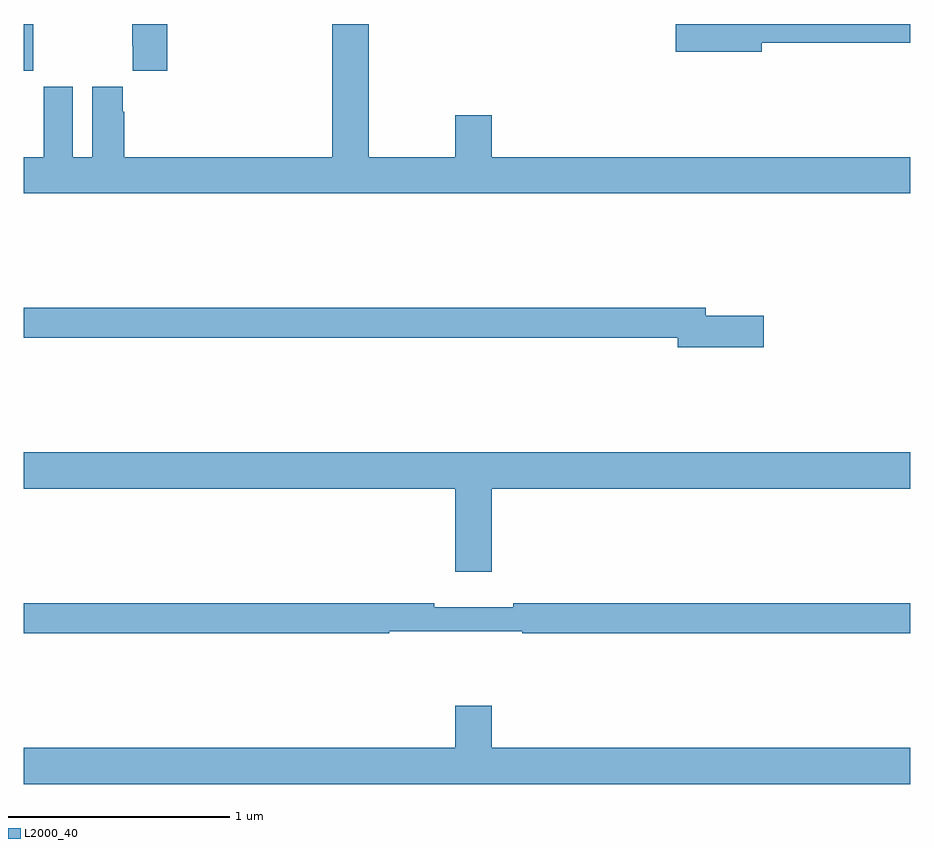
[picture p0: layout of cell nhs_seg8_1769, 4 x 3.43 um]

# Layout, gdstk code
import gdstk
lib = gdstk.Library(unit=1e-6, precision=1e-09)
def R(c, l, rs):  # rectangles x0, y0, x1, y1
    for r in rs: c.add(gdstk.rectangle(r[:2], r[2:], *l))
def P(c, l, *ps):  # polygons
    for p in ps: c.add(gdstk.Polygon(p, *l))
L2000_40 = (2000, 40)

nhs_seg8_1769 = lib.new_cell('nhs_seg8_1769')
R(nhs_seg8_1769, L2000_40, [(223,1147.689,223.044,1147.9)])
P(nhs_seg8_1769, L2000_40, [(227,1147.3),(225.112,1147.3),(225.112,1147.489),(224.948,1147.489),(224.948,1147.3),(224.557,1147.3),(224.557,1147.9),(224.393,1147.9),(224.393,1147.3),(223.454,1147.3),(223.454,1147.505),(223.447,1147.505),(223.447,1147.618),(223.31,1147.618),(223.31,1147.3),(223.222,1147.3),(223.222,1147.618),(223.091,1147.618),(223.091,1147.3),(223,1147.3),(223,1147.136),(227,1147.136)],
  [(223.649,1147.9),(223.489,1147.9),(223.489,1147.801),(223.493,1147.801),(223.493,1147.689),(223.649,1147.689)],
  [(226.33,1147.816),(227,1147.816),(227,1147.9),(225.942,1147.9),(225.942,1147.774),(226.33,1147.774)],
  [(226.339,1146.584),(226.078,1146.584),(226.078,1146.62),(223,1146.62),(223,1146.484),(225.95,1146.484),(225.95,1146.442),(226.339,1146.442)],
  [(225.112,1145.804),(227,1145.804),(227,1145.968),(223,1145.968),(223,1145.804),(224.948,1145.804),(224.948,1145.43),(225.112,1145.43)],
  [(224.65,1145.16),(225.25,1145.16),(225.25,1145.152),(227,1145.152),(227,1145.288),(225.208,1145.288),(225.208,1145.269),(224.852,1145.269),(224.852,1145.288),(223,1145.288),(223,1145.152),(224.65,1145.152)],
  [(227,1144.636),(225.112,1144.636),(225.112,1144.825),(224.948,1144.825),(224.948,1144.636),(223,1144.636),(223,1144.472),(227,1144.472)])

lib.write_gds('nhs_seg8_1769.gds')
